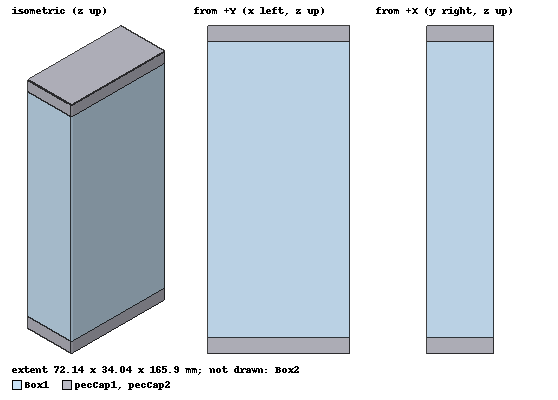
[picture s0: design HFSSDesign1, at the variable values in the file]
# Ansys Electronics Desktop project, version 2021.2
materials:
  vacuum: permittivity=1
  pec: conductivity=1e+30

design HFSSDesign1 (HFSS, DrivenModal, model units mm)
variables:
  a = 72.136mm
  b = 34.036mm
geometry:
  Box1 [vacuum] = box(corner=(-a/2, -b/2, 0mm), size=(a, b, 150mm))
  Box2 [vacuum] = box(corner=(-a, -b, -75mm), size=(a*2, b*2, 300mm))
  pecCap1 [pec] = sweep_along_normal(Box1.face(+z), length=7.97mm)
  pecCap2 [pec] = sweep_along_normal(Box1.face(-z), length=7.97mm)
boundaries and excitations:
  Rad1: Radiation Objects=Box2
  PerfE1: Perfect E Objects=Box1
  1: Wave Port Faces=Box1.face(+z) NumModes=1 Modes{Mode1{IntLine{middle of Box1.edge(4 of 12) -> middle of Box1.edge(2 of 12)} CharImp=Zpi}}
  2: Wave Port Faces=Box1.face(-z) NumModes=1 Modes{Mode1{IntLine{middle of Box1.edge(6 of 12) -> middle of Box1.edge(8 of 12)} CharImp=Zpi}}
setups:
  Setup1: HfssDriven MultipleAdaptiveFreqsSetup{Low=2GHz High=3.5GHz} MaxDeltaS=0.02 MaximumPasses=20 MinimumPasses=1 MinimumConvergedPasses=1 PercentRefinement=30 BasisOrder=1 PortAccuracy=2
    sweep Sweep: 2GHz to 3.5GHz, 401 points; Type=Fast SaveFields
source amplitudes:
  1:1: 1W 0deg
  2:1: 0W 0deg
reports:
  S Parameter Plot 1: dB(S(1,1)), dB(S(2,1)), dB(S(1,2)), dB(S(2,2)) vs Freq on Setup1 : Sweep
  Gamma Plot 1: im(Gamma(1)) vs Freq on Setup1 : Sweep; markers m1 at 2.075GHz
